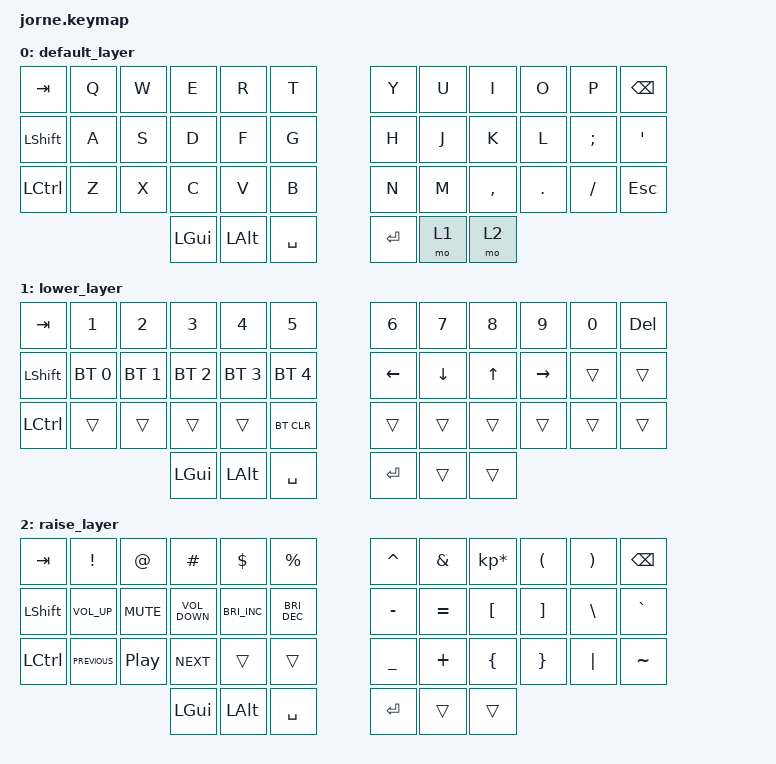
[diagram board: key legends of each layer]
/*

 * Copyright (c) 2020 The ZMK Contributors

 *

 * SPDX-License-Identifier: MIT

 */




#include <behaviors.dtsi>

#include <dt-bindings/zmk/keys.h>

#include <dt-bindings/zmk/bt.h>




/ {

        keymap {

                compatible = "zmk,keymap";




                default_layer {

// -----------------------------------------------------------------------------------------

// |  TAB |  Q  |  W  |  E  |  R  |  T  |   |  Y  |  U   |  I  |  O  |  P  | BKSP |

// | SHFT |  A  |  S  |  D  |  F  |  G  |   |  H  |  J   |  K  |  L  |  ;  |  '   |

// | CTRL |  Z  |  X  |  C  |  V  |  B  |   |  N  |  M   |  ,  |  .  |  /  | ESC  |

//                    | GUI | ALT | SPC |   | ENT | LWR  | RSE |

                        bindings = <

   &kp TAB   &kp Q &kp W &kp E &kp R &kp T   &kp Y &kp U  &kp I     &kp O   &kp P    &kp BSPC

   &kp LSHFT &kp A &kp S &kp D &kp F &kp G   &kp H &kp J  &kp K     &kp L   &kp SEMI &kp SQT

   &kp LCTRL &kp Z &kp X &kp C &kp V &kp B   &kp N &kp M  &kp COMMA &kp DOT &kp FSLH &kp ESC

                  &kp LGUI &kp LALT &kp SPACE   &kp RET &mo 1 &mo 2 

                        >;

                };

                lower_layer {

// -----------------------------------------------------------------------------------------

// |  TAB |  1  |  2  |  3  |  4  |  5  |   |  6  |  7  |  8  |  9  |  0  | DELETE |

// | SHFT | BT1 | BT2 | BT3 | BT4 | BT5 |   | LFT | DWN |  UP | RGT |     |      |

// | CTRL |     |     |     |     |BTCLR|   |     |     |     |     |     |      |

//                    | GUI | ALT | SPC |   | ENT |     |     |

                        bindings = <

   &kp TAB    &kp N1       &kp N2       &kp N3       &kp N4       &kp N5         &kp N6   &kp N7   &kp N8 &kp N9    &kp N0 &kp DELETE

   &kp LSHFT  &bt BT_SEL 0 &bt BT_SEL 1 &bt BT_SEL 2 &bt BT_SEL 3 &bt BT_SEL 4   &kp LEFT &kp DOWN &kp UP &kp RIGHT &trans &trans

   &kp LCTRL  &trans       &trans       &trans       &trans       &bt BT_CLR     &trans   &trans   &trans &trans    &trans &trans

                                   &kp LGUI     &kp LALT     &kp SPACE      &kp RET  &trans   &trans 

                        >;

                };




                raise_layer {

// -----------------------------------------------------------------------------------------

// |  TAB |  !  |  @  |  #  |  $  |  %  |   |  ^  |  &  |  *  |  (  |  )  | BKSP |

// | SHFT | vol+| mute| vol-|brght|dimm |   |  -  |  =  |  [  |  ]  |  \  |  `   |

// | CTRL | prev| play|next |     |     |   |  _  |  +  |  {  |  }  | "|" |  ~   |

//                    | GUI | ALT | SPC |   | ENT |     |     |

                        bindings = <

   &kp  TAB  &kp EXCL &kp AT   &kp HASH         &kp DLLR &kp PRCNT   &kp CARET              &kp AMPS                  &kp KP_MULTIPLY &kp LPAR &kp RPAR &kp BSPC

   &kp LSHFT &kp C_VOLUME_UP   &kp C_MUTE       &kp C_VOLUME_DOWN    &kp C_BRIGHTNESS_INC   &kp C_BRIGHTNESS_DEC      &kp MINUS &kp EQUAL &kp LBKT        &kp RBKT &kp BSLH &kp GRAVE

   &kp LCTRL &kp C_PREVIOUS    &kp C_PLAY_PAUSE &kp C_NEXT           &trans                 &trans                    &kp UNDER &kp PLUS  &kp LBRC        &kp RBRC &kp PIPE &kp TILDE

                                             &kp LGUI             &kp LALT               &kp SPACE                                        &kp RET   &trans   &trans

                        >;

                };

        };

};
